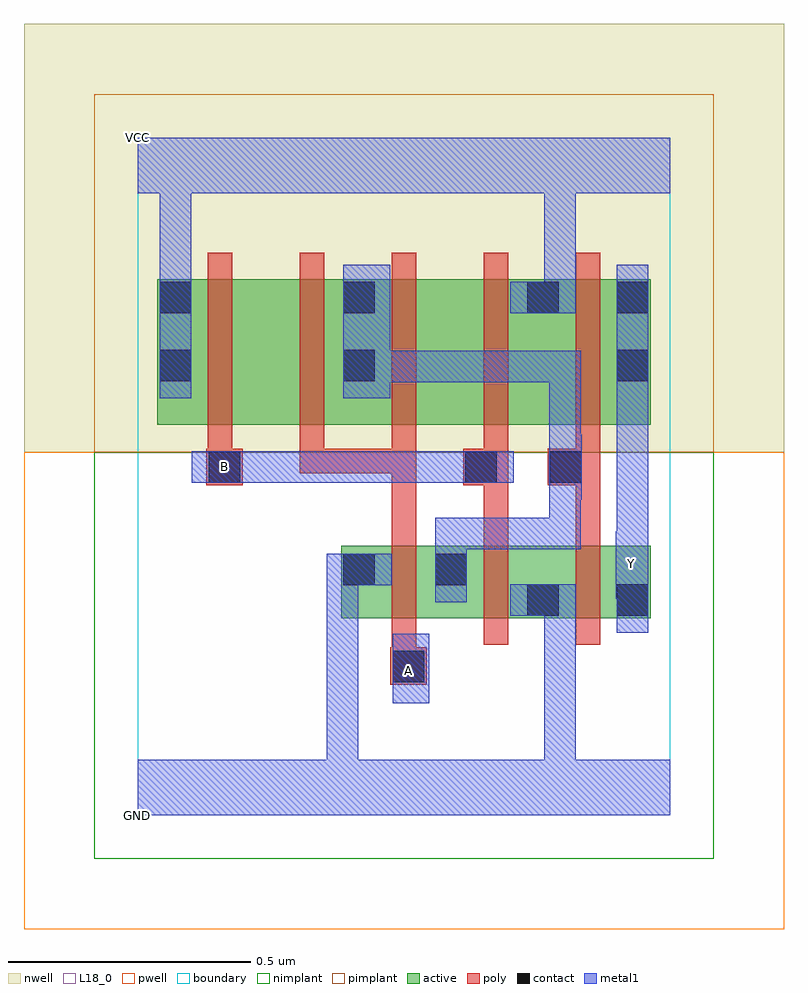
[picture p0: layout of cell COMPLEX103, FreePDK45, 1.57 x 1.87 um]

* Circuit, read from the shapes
.subckt COMPLEX103 A B GND VCC Y
M1 n1 A GND VSUBS nfet w=0.15u l=0.05u
M2 GND B n1 VSUBS nfet w=0.15u l=0.05u
M3 Y n1 GND VSUBS nfet w=0.15u l=0.05u
M4 n2 B VCC n3 pfet w=0.3u l=0.05u
M5 n1 A n2 n3 pfet w=0.3u l=0.05u
M6 n4 A n1 n3 pfet w=0.3u l=0.05u
M7 VCC B n4 n3 pfet w=0.3u l=0.05u
M8 Y n1 VCC n3 pfet w=0.3u l=0.05u
.ends

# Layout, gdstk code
import gdstk
lib = gdstk.Library(unit=1e-6, precision=1e-09)
def R(c, l, rs):  # rectangles x0, y0, x1, y1
    for r in rs: c.add(gdstk.rectangle(r[:2], r[2:], *l))
def A(c, l, x, y, w, h, nx, ny, dx, dy):  # array of equal rectangles
    R(c, l, [(x+i*dx, y+j*dy, x+i*dx+w, y+j*dy+h) for i in range(nx) for j in range(ny)])
active = (1, 0)
pwell = (2, 0)
nwell = (3, 0)
nimplant = (4, 0)
pimplant = (5, 0)
poly = (9, 0)
contact = (10, 0)
metal1 = (11, 0)
L18_0 = (18, 0)
boundary = (235, 0)

complex103 = lib.new_cell('COMPLEX103')
A(complex103, active, 0.04, 0.807, 0.075, 0.3, 3, 1, 0.38, 0)
R(complex103, active, [(0.42,0.407,0.495,0.557), (0.42,0.407,0.685,0.557), (0.61,0.407,0.875,0.557), (0.8,0.407,1.06,0.557), (0.8,0.407,0.875,0.482), (0.985,0.407,1.06,0.557), (0.61,0.47,0.685,0.545), (0.04,0.807,0.265,1.107), (0.265,0.807,0.495,1.107), (0.42,0.807,0.645,1.107), (0.645,0.807,0.875,1.107), (0.8,0.807,1.06,1.107), (0.985,0.807,1.06,1.107)])
R(complex103, pwell, [(-0.235,-0.235,1.335,0.75)])
R(complex103, nwell, [(-0.235,0.75,1.335,1.635)])
R(complex103, nimplant, [(-0.09,-0.09,1.19,0.75)])
R(complex103, pimplant, [(-0.09,0.75,1.19,1.49)])
A(complex103, poly, 0.525, 0.352, 0.05, 0.26, 3, 1, 0.19, 0)
A(complex103, poly, 0.145, 0.707, 0.05, 0.095, 5, 1, 0.19, 0)
A(complex103, poly, 0.145, 0.752, 0.05, 0.41, 5, 1, 0.19, 0)
R(complex103, poly, [(0.522,0.27,0.597,0.347), (0.525,0.297,0.575,0.402), (0.525,0.562,0.575,0.757), (0.715,0.562,0.765,0.732), (0.905,0.562,0.955,0.732), (0.142,0.682,0.217,0.757), (0.672,0.682,0.765,0.757), (0.847,0.682,0.955,0.757), (0.335,0.707,0.385,0.757), (0.335,0.707,0.575,0.757), (0.525,0.707,0.575,0.757), (0.525,0.707,0.575,0.757), (0.525,0.707,0.575,0.757)])
A(complex103, contact, 0.045, 1.037, 0.065, 0.065, 3, 1, 0.38, 0)
R(complex103, contact, [(0.527,0.275,0.592,0.34), (0.805,0.412,0.87,0.477), (0.99,0.412,1.055,0.477), (0.425,0.475,0.49,0.54), (0.615,0.475,0.68,0.54), (0.147,0.687,0.212,0.752), (0.677,0.687,0.742,0.752), (0.852,0.687,0.917,0.752), (0.045,0.897,0.11,0.962), (0.425,0.897,0.49,0.962), (0.99,0.897,1.055,0.962), (0.99,1.037,1.055,1.102)])
R(complex103, metal1, [(0,0,1.1,0.115), (0.39,0.05,0.455,0.115), (0.39,0.05,0.455,0.115), (0.39,0.05,0.455,0.115), (0.39,0.05,0.455,0.115), (0.39,0.05,0.455,0.115), (0.39,0.05,0.455,0.115), (0.39,0.05,0.455,0.54), (0.84,0.05,0.905,0.115), (0.84,0.05,0.905,0.115), (0.84,0.05,0.905,0.115), (0.84,0.05,0.905,0.115), (0.84,0.05,0.905,0.477), (0.527,0.232,0.602,0.375), (0.99,0.377,1.055,0.512), (0.77,0.412,0.905,0.477), (0.84,0.412,0.905,0.477), (0.84,0.412,0.905,0.477), (0.615,0.44,0.68,0.575), (0.987,0.447,1.055,0.587), (0.99,0.447,1.055,0.512), (0.39,0.475,0.525,0.54), (0.615,0.51,0.68,0.575), (0.615,0.51,0.68,0.615), (0.99,0.522,1.055,0.927), (0.615,0.55,0.915,0.615), (0.85,0.55,0.915,0.615), (0.85,0.55,0.915,0.787), (0.852,0.652,0.917,0.787), (0.112,0.687,0.247,0.752), (0.182,0.687,0.247,0.752), (0.182,0.687,0.247,0.752), (0.182,0.687,0.385,0.752), (0.32,0.687,0.385,0.752), (0.32,0.687,0.385,0.752), (0.32,0.687,0.385,0.752), (0.32,0.687,0.522,0.752), (0.457,0.687,0.522,0.752), (0.457,0.687,0.697,0.752), (0.632,0.687,0.697,0.752), (0.632,0.687,0.707,0.752), (0.642,0.687,0.777,0.752), (0.85,0.722,0.915,0.787), (0.85,0.722,0.917,0.787), (0.85,0.722,0.915,0.96), (0.045,0.862,0.11,1.137), (0.425,0.862,0.522,1.137), (0.99,0.862,1.055,1.137), (0.457,0.895,0.522,0.96), (0.457,0.895,0.522,0.96), (0.457,0.895,0.66,0.96), (0.595,0.895,0.66,0.96), (0.595,0.895,0.66,0.96), (0.595,0.895,0.66,0.96), (0.595,0.895,0.915,0.96), (0.85,0.895,0.915,0.96), (0.77,1.037,0.905,1.102), (0.84,1.037,0.905,1.35), (0.045,1.072,0.11,1.137), (0.045,1.072,0.11,1.137), (0.045,1.072,0.11,1.35), (0,1.285,1.1,1.4), (0.84,1.285,0.905,1.35), (0.84,1.285,0.905,1.35)])
R(complex103, L18_0, [(0,0,1.1,0.115), (0.39,0.05,0.455,0.115), (0.39,0.05,0.455,0.115), (0.39,0.05,0.455,0.115), (0.39,0.05,0.455,0.115), (0.39,0.05,0.455,0.115), (0.39,0.05,0.455,0.115), (0.39,0.05,0.455,0.54), (0.84,0.05,0.905,0.115), (0.84,0.05,0.905,0.115), (0.84,0.05,0.905,0.115), (0.84,0.05,0.905,0.115), (0.84,0.05,0.905,0.477), (0.527,0.232,0.602,0.375), (0.527,0.267,0.592,0.332), (0.99,0.377,1.055,0.512), (0.77,0.412,0.905,0.477), (0.84,0.412,0.905,0.477), (0.84,0.412,0.905,0.477), (0.987,0.447,1.055,0.587), (0.99,0.447,1.055,0.512), (0.39,0.475,0.525,0.54), (0.987,0.487,1.052,0.552), (0.99,0.522,1.055,0.927), (0.112,0.687,0.247,0.752), (0.147,0.687,0.212,0.752), (0.182,0.687,0.247,0.752), (0.182,0.687,0.247,0.752), (0.182,0.687,0.385,0.752), (0.32,0.687,0.385,0.752), (0.32,0.687,0.385,0.752), (0.32,0.687,0.385,0.752), (0.32,0.687,0.522,0.752), (0.457,0.687,0.522,0.752), (0.457,0.687,0.697,0.752), (0.632,0.687,0.697,0.752), (0.632,0.687,0.707,0.752), (0.642,0.687,0.777,0.752), (0.045,0.862,0.11,1.137), (0.99,0.862,1.055,1.137), (0.77,1.037,0.905,1.102), (0.84,1.037,0.905,1.35), (0.045,1.072,0.11,1.137), (0.045,1.072,0.11,1.137), (0.045,1.072,0.11,1.35), (0,1.285,1.1,1.4), (0.84,1.285,0.905,1.35), (0.84,1.285,0.905,1.35)])
R(complex103, boundary, [(0,0,1.1,1.4)])
complex103.add(gdstk.Label('A', (0.56,0.3), layer=11, texttype=0))
complex103.add(gdstk.Label('B', (0.18,0.72), layer=11, texttype=0))
complex103.add(gdstk.Label('Y', (1.02,0.52), layer=11, texttype=0))
complex103.add(gdstk.Label('VCC', (0,1.4), layer=11, texttype=0))
complex103.add(gdstk.Label('GND', (0,0), layer=11, texttype=0))

lib.write_gds('COMPLEX103.gds')
